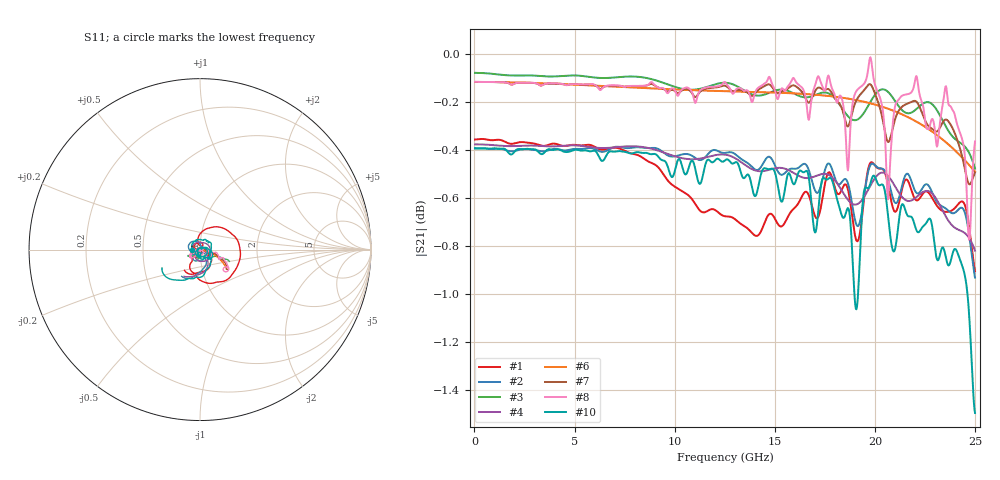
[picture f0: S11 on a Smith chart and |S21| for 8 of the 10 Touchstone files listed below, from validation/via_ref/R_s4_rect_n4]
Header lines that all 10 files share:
# Hz S RI R 50
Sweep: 25 MHz to 25 GHz
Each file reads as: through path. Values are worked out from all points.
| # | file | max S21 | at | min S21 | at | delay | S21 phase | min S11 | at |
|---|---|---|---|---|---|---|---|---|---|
| 1 | cst.s2p | -0.36 dB | 375 MHz | -0.9 dB | 25 GHz | 62.2 ps | 82 deg at 12.53 GHz | -54.6 dB | 19.9 GHz |
| 2 | cst_fine.s2p | -0.39 dB | 7.125 GHz | -0.9 dB | 25 GHz | 62.4 ps | 82 deg at 12.53 GHz | -51.8 dB | 20.48 GHz |
| 3 | deembedded.s2p | -0.08 dB | 25 MHz | -0.5 dB | 25 GHz | 12.2 ps | -54 deg at 12.53 GHz | -40.7 dB | 25 MHz |
| 4 | kisi.s2p | -0.38 dB | 25 MHz | -0.8 dB | 25 GHz | 62.3 ps | 82 deg at 12.53 GHz | -46.0 dB | 20.07 GHz |
| 5 | ladder_grid.s2p | -0.12 dB | 25 MHz | -0.5 dB | 24.77 GHz | 13 ps | -54 deg at 12.53 GHz | -51.1 dB | 17.93 GHz |
| 6 | ladder_inf.s2p | -0.12 dB | 25 MHz | -0.5 dB | 25 GHz | 12.9 ps | -54 deg at 12.53 GHz | -47.5 dB | 18.45 GHz |
| 7 | ladder_rect.s2p | -0.12 dB | 25 MHz | -0.5 dB | 24.73 GHz | 13 ps | -54 deg at 12.53 GHz | -47.2 dB | 17.98 GHz |
| 8 | ladder_rect_norad.s2p | -0.02 dB | 19.77 GHz | -0.8 dB | 24.7 GHz | 13 ps | -54 deg at 12.53 GHz | -56.2 dB | 17.93 GHz |
| 9 | openems.s2p | -0.37 dB | 325 MHz | -1.0 dB | 25 GHz | 62.6 ps | 80 deg at 12.53 GHz | -46.2 dB | 19.98 GHz |
| 10 | openems_base.s2p | -0.39 dB | 25 MHz | -1.5 dB | 25 GHz | 64.4 ps | 74 deg at 12.53 GHz | -43.1 dB | 18.1 GHz |
